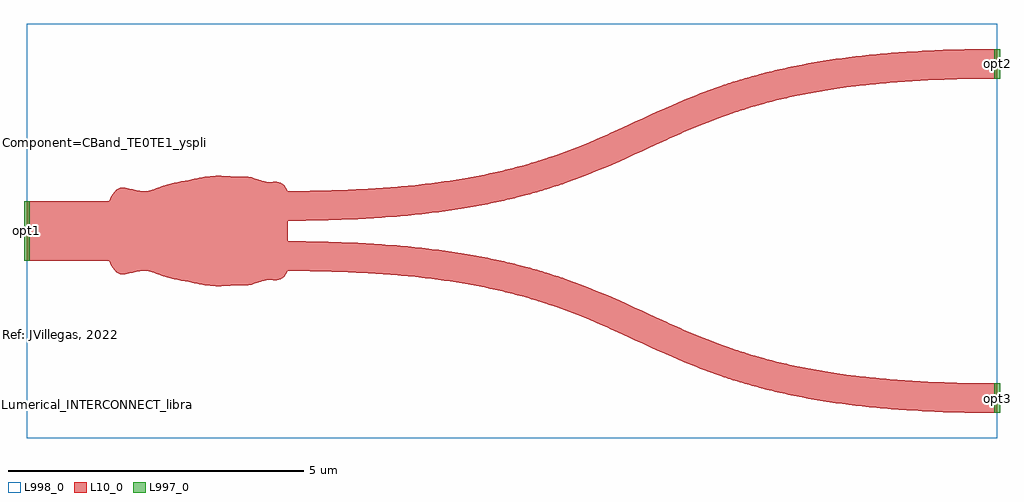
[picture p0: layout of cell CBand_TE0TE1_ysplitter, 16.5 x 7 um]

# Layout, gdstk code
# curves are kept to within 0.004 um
import gdstk
lib = gdstk.Library(unit=1e-6, precision=1e-09)
def R(c, l, rs):  # rectangles x0, y0, x1, y1
    for r in rs: c.add(gdstk.rectangle(r[:2], r[2:], *l))
def P(c, l, *ps):  # polygons
    for p in ps: c.add(gdstk.Polygon(p, *l))
L10_0 = (10, 0)
L997_0 = (997, 0)
L998_0 = (998, 0)

cband_te0te1_ysplitter = lib.new_cell('CBand_TE0TE1_ysplitter')
R(cband_te0te1_ysplitter, L10_0, [(-8.4,-0.5,-7,0.5)])
P(cband_te0te1_ysplitter, L10_0, [(-5.21,-0.931),(-5.332,-0.921),(-5.485,-0.898),(-5.942,-0.806),(-6.095,-0.764),(-6.278,-0.698),(-6.369,-0.676),(-6.43,-0.672),(-6.491,-0.677),(-6.766,-0.735),(-6.827,-0.729),(-6.888,-0.695),(-6.919,-0.665),(-6.949,-0.623),(-7.01,-0.5),(-7.01,0.5),(-6.98,0.568),(-6.919,0.665),(-6.858,0.716),(-6.827,0.729),(-6.766,0.735),(-6.491,0.677),(-6.43,0.672),(-6.369,0.676),(-6.278,0.698),(-6.095,0.764),(-5.942,0.806),(-5.485,0.898),(-5.332,0.921),(-5.21,0.931),(-4.661,0.915),(-4.6,0.905),(-4.356,0.83),(-4.295,0.825),(-4.173,0.832),(-4.112,0.818),(-4.082,0.799),(-4.051,0.77),(-3.99,0.675),(-3.99,-0.675),(-4.021,-0.729),(-4.051,-0.77),(-4.082,-0.799),(-4.112,-0.818),(-4.143,-0.828),(-4.204,-0.832),(-4.295,-0.825),(-4.356,-0.83),(-4.631,-0.911),(-4.722,-0.92)],
  [(7.841,-3.075),(7.088,-3.06),(6.67,-3.041),(6.087,-3),(5.667,-2.958),(5.22,-2.9),(4.708,-2.814),(4.285,-2.725),(3.979,-2.649),(3.731,-2.579),(3.344,-2.456),(2.916,-2.298),(2.582,-2.161),(2.017,-1.908),(2.017,-1.358),(2.716,-1.675),(3.099,-1.833),(3.436,-1.959),(3.797,-2.077),(4.068,-2.155),(4.398,-2.238),(4.708,-2.305),(5.09,-2.374),(5.345,-2.413),(5.723,-2.461),(6.19,-2.507),(6.632,-2.538),(7.106,-2.56),(8,-2.575),(8,-3.075)],
  [(2.017,-1.908),(1.284,-1.575),(0.901,-1.417),(0.564,-1.291),(0.203,-1.173),(-0.068,-1.095),(-0.398,-1.012),(-0.708,-0.945),(-1.09,-0.876),(-1.345,-0.837),(-1.723,-0.789),(-2.19,-0.743),(-2.632,-0.712),(-3.106,-0.69),(-4,-0.675),(-4,-0.175),(-3.455,-0.18),(-2.807,-0.202),(-2.212,-0.24),(-1.667,-0.292),(-1.22,-0.35),(-0.708,-0.436),(-0.285,-0.525),(0.187,-0.647),(0.618,-0.781),(1.015,-0.925),(1.418,-1.089),(2.017,-1.358)],
  [(2.017,1.358),(2.017,1.908),(2.582,2.161),(2.985,2.325),(3.382,2.469),(3.813,2.603),(4.285,2.725),(4.708,2.814),(5.22,2.9),(5.667,2.958),(6.212,3.01),(6.807,3.048),(7.455,3.07),(8,3.075),(8,2.575),(7.106,2.56),(6.632,2.538),(6.19,2.507),(5.723,2.461),(5.345,2.413),(5.09,2.374),(4.708,2.305),(4.398,2.238),(4.068,2.155),(3.797,2.077),(3.436,1.959),(3.099,1.833),(2.716,1.675)],
  [(-4,0.175),(-4,0.675),(-3.106,0.69),(-2.632,0.712),(-2.19,0.743),(-1.723,0.789),(-1.345,0.837),(-1.09,0.876),(-0.708,0.945),(-0.398,1.012),(-0.068,1.095),(0.203,1.173),(0.564,1.291),(0.901,1.417),(1.284,1.575),(2.017,1.908),(2.017,1.358),(1.418,1.089),(1.015,0.925),(0.618,0.781),(0.187,0.647),(-0.285,0.525),(-0.708,0.436),(-1.22,0.35),(-1.667,0.292),(-2.212,0.24),(-2.807,0.202),(-3.455,0.18)])
R(cband_te0te1_ysplitter, L998_0, [(-8.4,-3.5,8,3.5)])
cband_te0te1_ysplitter.add(gdstk.FlexPath([(-8.35,0),(-8.45,0)], 1, ends="flush", simple_path=True, layer=997, datatype=0))  # L997_0
cband_te0te1_ysplitter.add(gdstk.FlexPath([(7.95,-2.825),(8.05,-2.825)], 0.5, ends="flush", simple_path=True, layer=997, datatype=0))  # L997_0
cband_te0te1_ysplitter.add(gdstk.FlexPath([(7.95,2.825),(8.05,2.825)], 0.5, ends="flush", simple_path=True, layer=997, datatype=0))  # L997_0
cband_te0te1_ysplitter.add(gdstk.Label('opt1', (-8.4,0), layer=997, texttype=0))
cband_te0te1_ysplitter.add(gdstk.Label('opt2', (8,2.825), layer=997, texttype=0))
cband_te0te1_ysplitter.add(gdstk.Label('opt3', (8,-2.825), layer=997, texttype=0))
cband_te0te1_ysplitter.add(gdstk.Label('Lumerical_INTERCONNECT_library=Design Kits/PRL_PDK', (-7.91,-2.94), layer=1003, texttype=0))
cband_te0te1_ysplitter.add(gdstk.Label('Ref: JVillegas, 2022', (-7.947,-1.747), layer=1003, texttype=0))
cband_te0te1_ysplitter.add(gdstk.Label('Component=CBand_TE0TE1_ysplitter', (-7.932,1.5), layer=1003, texttype=0))

lib.write_gds('CBand_TE0TE1_ysplitter.gds')
